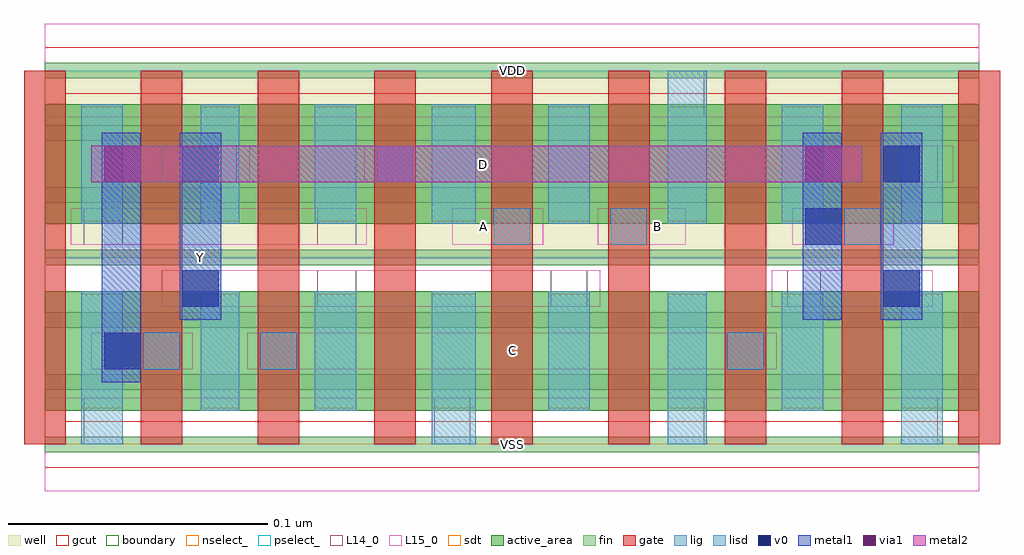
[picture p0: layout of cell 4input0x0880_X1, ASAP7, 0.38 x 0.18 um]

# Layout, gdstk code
import gdstk
lib = gdstk.Library(unit=1e-6, precision=1e-09)
def R(c, l, rs):  # rectangles x0, y0, x1, y1
    for r in rs: c.add(gdstk.rectangle(r[:2], r[2:], *l))
def A(c, l, x, y, w, h, nx, ny, dx, dy):  # array of equal rectangles
    R(c, l, [(x+i*dx, y+j*dy, x+i*dx+w, y+j*dy+h) for i in range(nx) for j in range(ny)])
def P(c, l, *ps):  # polygons
    for p in ps: c.add(gdstk.Polygon(p, *l))
well = (1, 0)
fin = (2, 0)
gate = (7, 0)
gcut = (10, 0)
active_area = (11, 0)
nselect_ = (12, 0)
pselect_ = (13, 0)
L14_0 = (14, 0)
L15_0 = (15, 0)
lig = (16, 0)
lisd = (17, 0)
v0 = (18, 0)
metal1 = (19, 0)
metal2 = (20, 0)
via1 = (21, 0)
sdt = (88, 0)
boundary = (100, 0)

c_4input0x0880_x1 = lib.new_cell('4input0x0880_X1')
R(c_4input0x0880_x1, well, [(0,0.072,0.36,0.144)])
A(c_4input0x0880_x1, fin, 0, -0.003, 0.36, 0.006, 1, 7, 0, 0.024)
A(c_4input0x0880_x1, gate, -0.008, 0, 0.016, 0.144, 9, 1, 0.045, 0)
P(c_4input0x0880_x1, gcut, [(0,-0.009),(0,0),(-0.008,0),(-0.008,0.135),(0.008,0.135),(0.008,0.009),(0.352,0.009),(0.352,0.135),(-0.008,0.135),(-0.008,0.144),(0,0.144),(0,0.153),(0.36,0.153),(0.36,0.144),(0.368,0.144),(0.368,0),(0.36,0),(0.36,-0.009)])
R(c_4input0x0880_x1, active_area, [(0,0.013,0.36,0.059), (0,0.085,0.36,0.131)])
R(c_4input0x0880_x1, nselect_, [(0,0,0.36,0.072)])
R(c_4input0x0880_x1, pselect_, [(0,0.072,0.36,0.144)])
A(c_4input0x0880_x1, L14_0, 0.15, 0, 0.014, 0.018, 3, 1, 0.09, 0)
R(c_4input0x0880_x1, L14_0, [(0.015,0,0.03,0.018), (0.038,0.029,0.052,0.043), (0.083,0.029,0.097,0.043), (0.263,0.029,0.277,0.043), (0.105,0.053,0.12,0.067), (0.195,0.053,0.209,0.067), (0.286,0.053,0.299,0.067), (0.015,0.077,0.03,0.091), (0.105,0.077,0.12,0.091), (0.173,0.077,0.187,0.091), (0.218,0.077,0.232,0.091), (0.308,0.077,0.322,0.091), (0.06,0.101,0.074,0.115), (0.128,0.101,0.142,0.115), (0.33,0.101,0.344,0.115), (0.24,0.126,0.254,0.144)])
R(c_4input0x0880_x1, L15_0, [(0,-0.018,0.36,0.018), (0.018,0.029,0.057,0.043), (0.078,0.029,0.282,0.043), (0.045,0.053,0.214,0.067), (0.28,0.053,0.342,0.067), (0.01,0.077,0.124,0.091), (0.157,0.077,0.192,0.091), (0.213,0.077,0.247,0.091), (0.288,0.077,0.327,0.091), (0.045,0.101,0.079,0.115), (0.123,0.101,0.35,0.115), (0,0.126,0.36,0.162)])
R(c_4input0x0880_x1, lig, [(0.038,0.029,0.052,0.043), (0.083,0.029,0.097,0.043), (0.263,0.029,0.277,0.043), (0.173,0.077,0.187,0.091), (0.218,0.077,0.232,0.091), (0.308,0.077,0.322,0.091), (0.128,0.101,0.142,0.115)])
A(c_4input0x0880_x1, lisd, 0.104, 0.013, 0.016, 0.046, 3, 1, 0.09, 0)
A(c_4input0x0880_x1, lisd, 0.014, 0.085, 0.016, 0.046, 4, 1, 0.09, 0)
R(c_4input0x0880_x1, lisd, [(0.014,0,0.03,0.059), (0.149,0,0.166,0.059), (0.24,0,0.255,0.059), (0.33,0,0.346,0.059), (0.06,0.013,0.075,0.059), (0.06,0.085,0.075,0.131), (0.149,0.085,0.166,0.131), (0.24,0.085,0.255,0.144), (0.33,0.085,0.346,0.131)])
R(c_4input0x0880_x1, v0, [(0.023,0.029,0.037,0.043), (0.053,0.053,0.067,0.067), (0.323,0.053,0.337,0.067), (0.293,0.077,0.307,0.091), (0.053,0.101,0.067,0.115), (0.323,0.101,0.337,0.115)])
R(c_4input0x0880_x1, metal1, [(0.022,0.024,0.037,0.12), (0.052,0.048,0.068,0.12), (0.292,0.048,0.307,0.12), (0.322,0.048,0.338,0.12)])
R(c_4input0x0880_x1, metal2, [(0.018,0.101,0.315,0.115)])
R(c_4input0x0880_x1, via1, [(0.023,0.101,0.037,0.115), (0.293,0.101,0.307,0.115)])
A(c_4input0x0880_x1, sdt, 0.014, 0.014, 0.016, 0.044, 4, 2, 0.09, 0.072)
R(c_4input0x0880_x1, sdt, [(0.06,0.014,0.075,0.058), (0.149,0.014,0.166,0.058), (0.24,0.014,0.255,0.058), (0.33,0.014,0.346,0.058), (0.06,0.086,0.075,0.13), (0.149,0.086,0.166,0.13), (0.24,0.086,0.255,0.13), (0.33,0.086,0.346,0.13)])
R(c_4input0x0880_x1, boundary, [(0,0,0.36,0.144)])
c_4input0x0880_x1.add(gdstk.Label('VSS', (0.18,0), layer=15, texttype=251))
c_4input0x0880_x1.add(gdstk.Label('VDD', (0.18,0.144), layer=15, texttype=251))
c_4input0x0880_x1.add(gdstk.Label('A', (0.169,0.084), layer=15, texttype=251))
c_4input0x0880_x1.add(gdstk.Label('VSS', (0.18,0), layer=15, texttype=251))
c_4input0x0880_x1.add(gdstk.Label('VDD', (0.18,0.144), layer=15, texttype=251))
c_4input0x0880_x1.add(gdstk.Label('B', (0.236,0.084), layer=15, texttype=251))
c_4input0x0880_x1.add(gdstk.Label('VSS', (0.18,0), layer=15, texttype=251))
c_4input0x0880_x1.add(gdstk.Label('VDD', (0.18,0.144), layer=15, texttype=251))
c_4input0x0880_x1.add(gdstk.Label('C', (0.18,0.036), layer=15, texttype=251))
c_4input0x0880_x1.add(gdstk.Label('VSS', (0.18,0), layer=15, texttype=251))
c_4input0x0880_x1.add(gdstk.Label('VDD', (0.18,0.144), layer=15, texttype=251))
c_4input0x0880_x1.add(gdstk.Label('VSS', (0.18,0), layer=15, texttype=251))
c_4input0x0880_x1.add(gdstk.Label('VDD', (0.18,0.144), layer=15, texttype=251))
c_4input0x0880_x1.add(gdstk.Label('D', (0.169,0.108), layer=20, texttype=251))
c_4input0x0880_x1.add(gdstk.Label('Y', (0.06,0.072), layer=19, texttype=251))
c_4input0x0880_x1.add(gdstk.Label('VSS', (0.18,0), layer=3, texttype=251))
c_4input0x0880_x1.add(gdstk.Label('VSS', (0.18,0), layer=3, texttype=251))
c_4input0x0880_x1.add(gdstk.Label('VSS', (0.18,0), layer=3, texttype=251))
c_4input0x0880_x1.add(gdstk.Label('VSS', (0.18,0), layer=3, texttype=251))
c_4input0x0880_x1.add(gdstk.Label('VSS', (0.18,0), layer=3, texttype=251))
c_4input0x0880_x1.add(gdstk.Label('VDD', (0.18,0.144), layer=1, texttype=251))
c_4input0x0880_x1.add(gdstk.Label('VDD', (0.18,0.144), layer=1, texttype=251))
c_4input0x0880_x1.add(gdstk.Label('VDD', (0.18,0.144), layer=1, texttype=251))
c_4input0x0880_x1.add(gdstk.Label('VDD', (0.18,0.144), layer=1, texttype=251))
c_4input0x0880_x1.add(gdstk.Label('VDD', (0.18,0.144), layer=1, texttype=251))

lib.write_gds('4input0x0880_X1.gds')
